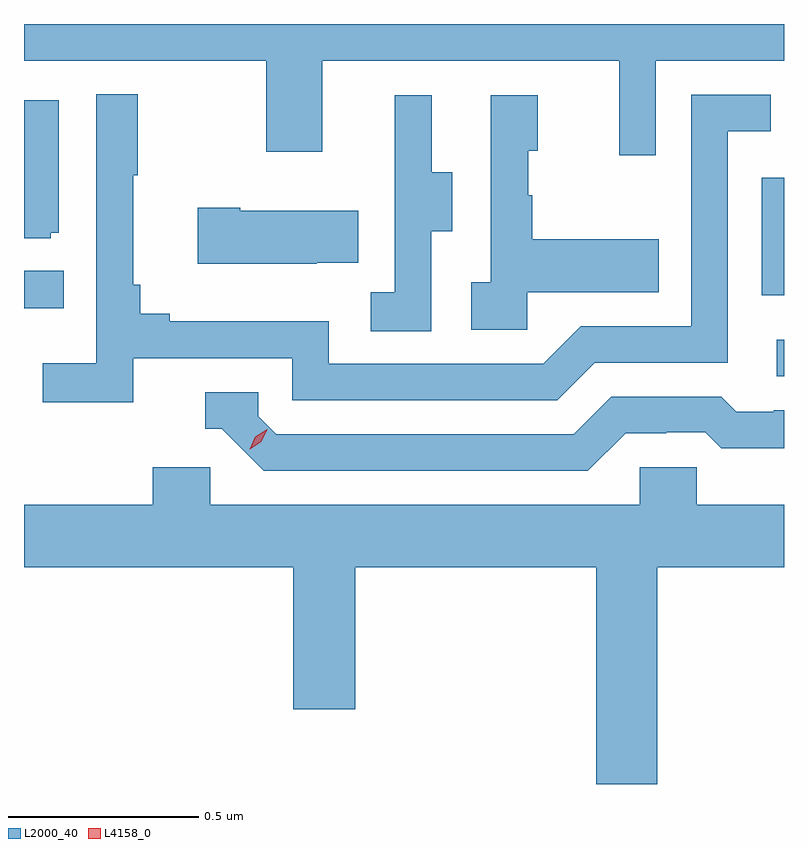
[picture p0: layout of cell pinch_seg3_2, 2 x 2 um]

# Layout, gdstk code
import gdstk
lib = gdstk.Library(unit=1e-6, precision=1e-09)
def R(c, l, rs):  # rectangles x0, y0, x1, y1
    for r in rs: c.add(gdstk.rectangle(r[:2], r[2:], *l))
def P(c, l, *ps):  # polygons
    for p in ps: c.add(gdstk.Polygon(p, *l))
L2000_40 = (2000, 40)
L4158_0 = (4158, 0)

pinch_seg3_2 = lib.new_cell('pinch_seg3_2')
R(pinch_seg3_2, L2000_40, [(1137.309,736.05,1137.328,736.146), (1137.27,736.263,1137.328,736.572)])
P(pinch_seg3_2, L2000_40, [(1136.991,736.88),(1137.328,736.88),(1137.328,736.977),(1135.328,736.977),(1135.328,736.88),(1135.966,736.88),(1135.966,736.641),(1136.113,736.641),(1136.113,736.88),(1136.894,736.88),(1136.894,736.632),(1136.991,736.632)],
  [(1135.616,736.098),(1136.034,736.098),(1136.034,735.987),(1136.731,735.987),(1136.83,736.086),(1137.18,736.086),(1137.18,736.695),(1137.293,736.695),(1137.293,736.791),(1137.084,736.791),(1137.084,736.182),(1136.793,736.182),(1136.694,736.083),(1136.13,736.083),(1136.13,736.195),(1135.711,736.195),(1135.711,736.214),(1135.634,736.214),(1135.634,736.291),(1135.615,736.291),(1135.615,736.579),(1135.627,736.579),(1135.627,736.792),(1135.518,736.792),(1135.518,736.084),(1135.377,736.084),(1135.377,735.982),(1135.616,735.982)],
  [(1136.652,736.271),(1136.999,736.271),(1136.999,736.411),(1136.665,736.411),(1136.665,736.526),(1136.655,736.526),(1136.655,736.644),(1136.68,736.644),(1136.68,736.789),(1136.556,736.789),(1136.556,736.298),(1136.505,736.298),(1136.505,736.173),(1136.652,736.173)],
  [(1136.4,736.432),(1136.455,736.432),(1136.455,736.587),(1136.401,736.587),(1136.401,736.789),(1136.303,736.789),(1136.303,736.575),(1136.304,736.575),(1136.304,736.271),(1136.241,736.271),(1136.241,736.168),(1136.4,736.168)],
  [(1135.398,736.428),(1135.42,736.428),(1135.42,736.777),(1135.328,736.777),(1135.328,736.413),(1135.398,736.413)],
  [(1136.099,736.349),(1136.207,736.349),(1136.207,736.486),(1135.897,736.486),(1135.897,736.494),(1135.785,736.494),(1135.785,736.346),(1136.099,736.346)],
  [(1135.329,736.229),(1135.433,736.229),(1135.433,736.328),(1135.328,736.328),(1135.328,736.228)],
  [(1136.911,735.9),(1137.018,735.9),(1137.018,735.903),(1137.121,735.903),(1137.163,735.861),(1137.328,735.861),(1137.328,735.96),(1137.301,735.96),(1137.301,735.957),(1137.202,735.957),(1137.163,735.996),(1136.874,735.996),(1136.775,735.897),(1135.992,735.897),(1135.944,735.945),(1135.944,736.008),(1135.805,736.008),(1135.805,735.912),(1135.848,735.912),(1135.959,735.801),(1136.812,735.801)],
  [(1136.994,735.548),(1137.328,735.548),(1137.328,735.712),(1137.099,735.712),(1137.099,735.81),(1136.949,735.81),(1136.949,735.712),(1135.818,735.712),(1135.818,735.81),(1135.667,735.81),(1135.667,735.712),(1135.328,735.712),(1135.328,735.548),(1136.036,735.548),(1136.036,735.174),(1136.2,735.174),(1136.2,735.548),(1136.834,735.548),(1136.834,734.977),(1136.994,734.977)])
P(pinch_seg3_2, L4158_0, [(1135.922,735.858),(1135.922,735.858),(1135.937,735.891),(1135.968,735.911),(1135.968,735.911),(1135.968,735.911),(1135.952,735.878),(1135.922,735.858)])

lib.write_gds('pinch_seg3_2.gds')
